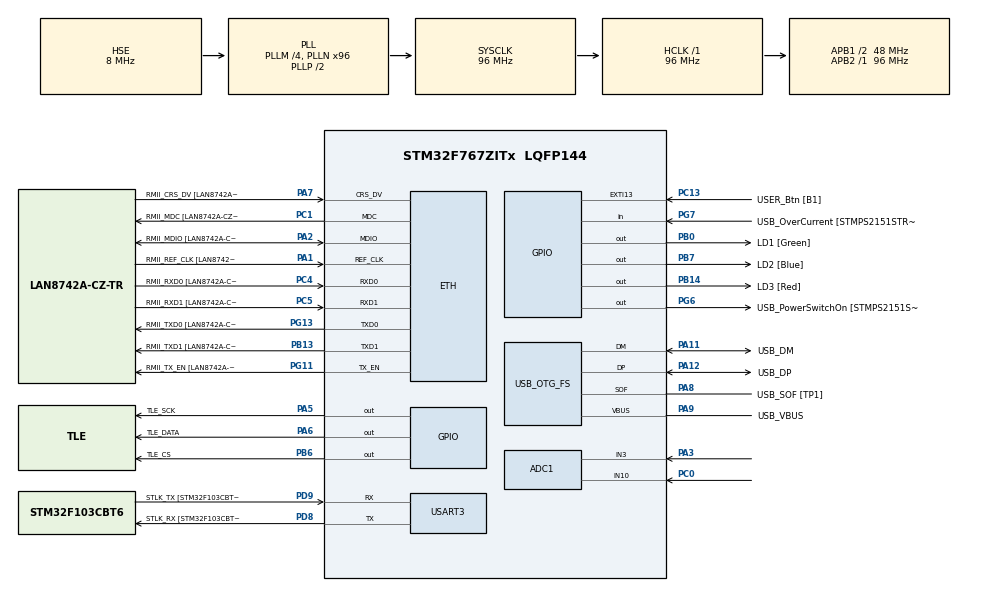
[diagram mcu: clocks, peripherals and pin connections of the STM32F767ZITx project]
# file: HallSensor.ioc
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ADC1.Channel-0\#ChannelRegularConversion=ADC_CHANNEL_3
ADC1.NbrOfConversionFlag=1
ADC1.Rank-0\#ChannelRegularConversion=1
ADC1.SamplingTime-0\#ChannelRegularConversion=ADC_SAMPLETIME_3CYCLES
ADC1.master=1
CORTEX_M7.default_mode_Activation=1
ETH.MediaInterface=HAL_ETH_RMII_MODE
ETH.PHY_Name=LAN8742A_PHY_ADDRESS
ETH.PHY_Value=0
ETH.PhyAddress=0
Mcu.Family=STM32F7
Mcu.Name=STM32F767ZITx
Mcu.Package=LQFP144
NVIC.PriorityGroup=NVIC_PRIORITYGROUP_4
NVIC.USART3_IRQn=true\:0\:0\:false\:false\:true\:true\:true\:true
PA1.GPIO_Label=RMII_REF_CLK [LAN8742A-CZ-TR_REFCLK0]
PA1.Mode=RMII
PA1.Signal=ETH_REF_CLK
PA10.GPIO_Label=USB_ID
PA10.Signal=USB_OTG_FS_ID
PA11.GPIO_Label=USB_DM
PA11.Mode=Device_Only
PA11.Signal=USB_OTG_FS_DM
PA12.GPIO_Label=USB_DP
PA12.Mode=Device_Only
PA12.Signal=USB_OTG_FS_DP
PA13.GPIO_Label=TMS
PA13.Mode=Serial_Wire
PA13.Signal=SYS_JTMS-SWDIO
PA14.GPIO_Label=TCK
PA14.Mode=Serial_Wire
PA14.Signal=SYS_JTCK-SWCLK
PA2.GPIO_Label=RMII_MDIO [LAN8742A-CZ-TR_MDIO]
PA2.Mode=RMII
PA2.Signal=ETH_MDIO
PA3.Signal=ADCx_IN3
PA5.GPIO_Label=TLE_SCK
PA5.Signal=GPIO_Output
PA6.GPIO_Label=TLE_DATA
PA6.Signal=GPIO_Output
PA7.GPIO_Label=RMII_CRS_DV [LAN8742A-CZ-TR_CRS_DV]
PA7.Mode=RMII
PA7.Signal=ETH_CRS_DV
PA8.GPIO_Label=USB_SOF [TP1]
PA8.Mode=Activate_SOF_FS
PA8.Signal=USB_OTG_FS_SOF
PA9.GPIO_Label=USB_VBUS
PA9.Mode=Activate_VBUS
PA9.Signal=USB_OTG_FS_VBUS
PB0.GPIO_Label=LD1 [Green]
PB0.Signal=GPIO_Output
PB13.GPIO_Label=RMII_TXD1 [LAN8742A-CZ-TR_TXD1]
PB13.Mode=RMII
PB13.Signal=ETH_TXD1
PB14.GPIO_Label=LD3 [Red]
PB14.Signal=GPIO_Output
PB3.GPIO_Label=SWO
PB3.Signal=SYS_JTDO-SWO
PB6.GPIO_Label=TLE_CS
PB6.Signal=GPIO_Output
PB7.GPIO_Label=LD2 [Blue]
PB7.Signal=GPIO_Output
PC0.Signal=ADCx_IN10
PC1.GPIO_Label=RMII_MDC [LAN8742A-CZ-TR_MDC]
PC1.Mode=RMII
PC1.Signal=ETH_MDC
PC13.GPIO_Label=USER_Btn [B1]
PC13.Signal=GPXTI13
PC14/OSC32_IN.Mode=LSE-External-Oscillator
PC14/OSC32_IN.Signal=RCC_OSC32_IN
PC15/OSC32_OUT.Mode=LSE-External-Oscillator
PC15/OSC32_OUT.Signal=RCC_OSC32_OUT
PC4.GPIO_Label=RMII_RXD0 [LAN8742A-CZ-TR_RXD0]
PC4.Mode=RMII
PC4.Signal=ETH_RXD0
PC5.GPIO_Label=RMII_RXD1 [LAN8742A-CZ-TR_RXD1]
PC5.Mode=RMII
PC5.Signal=ETH_RXD1
PD8.GPIO_Label=STLK_RX [STM32F103CBT6_PA3]
PD8.Mode=Asynchronous
PD8.Signal=USART3_TX
PD9.GPIO_Label=STLK_TX [STM32F103CBT6_PA2]
PD9.Mode=Asynchronous
PD9.Signal=USART3_RX
PG11.GPIO_Label=RMII_TX_EN [LAN8742A-CZ-TR_TXEN]
PG11.Mode=RMII
PG11.Signal=ETH_TX_EN
PG13.GPIO_Label=RMII_TXD0 [LAN8742A-CZ-TR_TXD0]
PG13.Mode=RMII
PG13.Signal=ETH_TXD0
PG6.GPIO_Label=USB_PowerSwitchOn [STMPS2151STR_EN]
PG6.Signal=GPIO_Output
PG7.GPIO_Label=USB_OverCurrent [STMPS2151STR_FAULT]
PG7.Signal=GPIO_Input
PH0/OSC_IN.GPIO_Label=MCO [STM32F103CBT6_PA8]
PH0/OSC_IN.Mode=HSE-External-Clock-Source
PH0/OSC_IN.Signal=RCC_OSC_IN
PH1/OSC_OUT.Mode=HSE-External-Clock-Source
PH1/OSC_OUT.Signal=RCC_OSC_OUT
ProjectManager.HeapSize=0x200
ProjectManager.StackSize=0x400
ProjectManager.TargetToolchain=STM32CubeIDE
RCC.48MHZClocksFreq_Value=24000000
RCC.AHBFreq_Value=96000000
RCC.APB1CLKDivider=RCC_HCLK_DIV2
RCC.APB1Freq_Value=48000000
RCC.APB1TimFreq_Value=96000000
RCC.APB2Freq_Value=96000000
RCC.APB2TimFreq_Value=96000000
RCC.CortexFreq_Value=96000000
RCC.HCLKFreq_Value=96000000
RCC.HSE_VALUE=8000000
RCC.HSI_VALUE=16000000
RCC.PLLM=4
RCC.PLLMUL=RCC_PLL_MUL9
RCC.PLLN=96
RCC.PLLQ=4
RCC.PRESCALERUSB=RCC_USBCLKSOURCE_PLL_DIV1_5
RCC.SYSCLKFreq_VALUE=96000000
RCC.SYSCLKSource=RCC_SYSCLKSOURCE_PLLCLK
RCC.SYSCLKSourceVirtual=RCC_SYSCLKSOURCE_PLLCLK
RCC.USBFreq_Value=48000000
RCC.VCOOutputFreq_Value=192000000
SH.ADCx_IN10.0=ADC1_IN10,IN10
SH.ADCx_IN3.0=ADC1_IN3,IN3
USART3.VirtualMode-Asynchronous=VM_ASYNC
USB_OTG_FS.VirtualMode=Device_Only
board=NUCLEO-F767ZI

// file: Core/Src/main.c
/* USER CODE BEGIN Header */
/**
  ******************************************************************************
  * @file           : main.c
  * @brief          : Main program body
  ******************************************************************************
  * @attention
  *
  * Copyright (c) 2026 STMicroelectronics.
  * All rights reserved.
  *
  * This software is licensed under terms that can be found in the LICENSE file
  * in the root directory of this software component.
  * If no LICENSE file comes with this software, it is provided AS-IS.
  *
  ******************************************************************************
  */
/* USER CODE END Header */
#include "main.h"
#include "string.h"

/* USER CODE BEGIN Includes */
#include <stdio.h>
#include <Tle5012b.h>
/* USER CODE END Includes */

/* USER CODE BEGIN PD */
#define Y_TOP_RAW      1970   // full front
#define Y_NEUTRAL_RAW  2145   // center
#define Y_BOTTOM_RAW   4080   // full back
#define X_LEFT_RAW     -63.5f
#define X_CENTER_RAW   -54.4f
#define X_RIGHT_RAW    -42.25f
#define Y_TOLERANCE    500
#define X_TOLERANCE    4.5f
/* USER CODE END PD */

#if defined ( __ICCARM__ ) /*!< IAR Compiler */
#pragma location=0x2007c000
ETH_DMADescTypeDef  DMARxDscrTab[ETH_RX_DESC_CNT]; /* Ethernet Rx DMA Descriptors */
#pragma location=0x2007c0a0
ETH_DMADescTypeDef  DMATxDscrTab[ETH_TX_DESC_CNT]; /* Ethernet Tx DMA Descriptors */

#elif defined ( __CC_ARM )  /* MDK ARM Compiler */

__attribute__((at(0x2007c000))) ETH_DMADescTypeDef  DMARxDscrTab[ETH_RX_DESC_CNT]; /* Ethernet Rx DMA Descriptors */
__attribute__((at(0x2007c0a0))) ETH_DMADescTypeDef  DMATxDscrTab[ETH_TX_DESC_CNT]; /* Ethernet Tx DMA Descriptors */

#elif defined ( __GNUC__ ) /* GNU Compiler */

ETH_DMADescTypeDef DMARxDscrTab[ETH_RX_DESC_CNT] __attribute__((section(".RxDecripSection"))); /* Ethernet Rx DMA Descriptors */
ETH_DMADescTypeDef DMATxDscrTab[ETH_TX_DESC_CNT] __attribute__((section(".TxDecripSection")));   /* Ethernet Tx DMA Descriptors */
#endif

ETH_TxPacketConfig TxConfig;

ADC_HandleTypeDef hadc1;

ETH_HandleTypeDef heth;

UART_HandleTypeDef huart3;

PCD_HandleTypeDef hpcd_USB_OTG_FS;

/* USER CODE BEGIN PV */
uint32_t H1_ADC = 0;
uint32_t H2_ADC = 0;

/* USER CODE END PV */

void SystemClock_Config(void);
static void MPU_Config(void);
static void MX_GPIO_Init(void);
static void MX_ETH_Init(void);
static void MX_USART3_UART_Init(void);
static void MX_USB_OTG_FS_PCD_Init(void);
static void MX_ADC1_Init(void);

/* USER CODE BEGIN 0 */

static uint32_t read_hall_channel(uint32_t channel)
{
    ADC_ChannelConfTypeDef sConfig = {0};
    sConfig.Channel = channel;
    sConfig.Rank = ADC_REGULAR_RANK_1;
    sConfig.SamplingTime = ADC_SAMPLETIME_56CYCLES;
    HAL_ADC_ConfigChannel(&hadc1, &sConfig);

    HAL_ADC_Start(&hadc1);
    HAL_ADC_PollForConversion(&hadc1, 10);
    uint32_t raw = HAL_ADC_GetValue(&hadc1);
    HAL_ADC_Stop(&hadc1);

    return raw;
}

static int classify_row(int32_t y)
{
    if (y < 2050) return -1;        /* below ~2050 = top (front) */
    else if (y < 3000) return 0;    /* 2050-3000 = neutral */
    else return 1;                   /* above 3000 = bottom (back) */
}

static int classify_col(float x)
{
    if (x < -58.0f) return -1;      /* left */
    else if (x < -48.0f) return 0;  /* center */
    else return 1;                   /* right */
}

static int32_t compute_gear(float x_raw, int32_t y_raw)
{
    int col = classify_col(x_raw);
    int row = classify_row(y_raw);

    if (row == 0) return 0;

    if (row == -1) {
        if (col == -1) return 3;
        if (col == 0)  return -1;
        if (col == 1)  return 4;
    }

    if (row == 1) {
        if (col == -1) return 2;
        if (col == 0)  return 1;
        if (col == 1)  return 5;
    }

    return 0;
}

/* USER CODE END 0 */

int main(void)
{

  /* USER CODE BEGIN 1 */
	char tx_buff[100];
	TLE5012_Frame_t frame;
	float angle_deg;
	char msg[80];

  /* USER CODE END 1 */

  /* MPU Configuration--------------------------------------------------------*/
  MPU_Config();

  /* MCU Configuration--------------------------------------------------------*/

  /* Reset of all peripherals, Initializes the Flash interface and the Systick. */
  HAL_Init();

  /* Configure the system clock */
  SystemClock_Config();

  /* Initialize all configured peripherals */
  MX_GPIO_Init();
  MX_ETH_Init();
  MX_USART3_UART_Init();
  MX_USB_OTG_FS_PCD_Init();
  MX_ADC1_Init();
  /* USER CODE BEGIN 2 */
  sprintf(tx_buff,"Testing\r\n");
  TLE5012_GPIO_Init();
  /* USER CODE END 2 */

  /* Infinite loop */
  while (1)
  {

    /* USER CODE BEGIN 3 */
	  HAL_Delay(1000);
	  HAL_GPIO_WritePin(LD2_GPIO_Port, LD2_Pin, GPIO_PIN_RESET);
	  HAL_Delay(500);
	  HAL_GPIO_WritePin(LD2_GPIO_Port, LD2_Pin, GPIO_PIN_SET);
	  int32_t current_gear = compute_gear(angle_deg, (int32_t)H1_ADC);

	  		  int len = sprintf(msg,"Trying\n");
	  		  HAL_UART_Transmit(&huart3, (uint8_t *)msg, len, 1000);
//	  printf("Testing some output \n");
//	  HAL_UART_Transmit(&huart3, (uint8_t *)tx_buff, strlen(tx_buff), 1000);
	  		  H1_ADC = read_hall_channel(ADC_CHANNEL_3);
	  		  H2_ADC = read_hall_channel(ADC_CHANNEL_10);

	  		  if (TLE5012_ReadAngleDeg(&angle_deg, &frame) == HAL_OK && frame.crc_ok) {
	  			int len = snprintf(msg, sizeof(msg),
	  			    "H1:%lu  H2:%lu  Angle:%.2f  Gear:%ld\r\n",
	  			    H1_ADC, H2_ADC, angle_deg, current_gear);
	  			HAL_UART_Transmit(&huart3, (uint8_t *)msg, len, 1000);
	  		  } else {
	  			  int len = snprintf(msg, sizeof(msg), "H1:%lu  H2:%lu  TLE Failed\r\n", H1_ADC, H2_ADC);
	  			  HAL_UART_Transmit(&huart3, (uint8_t *)msg, len, 1000);
	  		  }
  }
  /* USER CODE END 3 */
}

void SystemClock_Config(void)
{
  RCC_OscInitTypeDef RCC_OscInitStruct = {0};
  RCC_ClkInitTypeDef RCC_ClkInitStruct = {0};

  /** Configure LSE Drive Capability
  */
  HAL_PWR_EnableBkUpAccess();

  /** Configure the main internal regulator output voltage
  */
  __HAL_RCC_PWR_CLK_ENABLE();
  __HAL_PWR_VOLTAGESCALING_CONFIG(PWR_REGULATOR_VOLTAGE_SCALE3);

  /** Initializes the RCC Oscillators according to the specified parameters
  * in the RCC_OscInitTypeDef structure.
  */
  RCC_OscInitStruct.OscillatorType = RCC_OSCILLATORTYPE_HSE;
  RCC_OscInitStruct.HSEState = RCC_HSE_BYPASS;
  RCC_OscInitStruct.PLL.PLLState = RCC_PLL_ON;
  RCC_OscInitStruct.PLL.PLLSource = RCC_PLLSOURCE_HSE;
  RCC_OscInitStruct.PLL.PLLM = 4;
  RCC_OscInitStruct.PLL.PLLN = 96;
  RCC_OscInitStruct.PLL.PLLP = RCC_PLLP_DIV2;
  RCC_OscInitStruct.PLL.PLLQ = 4;
  RCC_OscInitStruct.PLL.PLLR = 2;
  if (HAL_RCC_OscConfig(&RCC_OscInitStruct) != HAL_OK)
  {
    Error_Handler();
  }

  /** Activate the Over-Drive mode
  */
  if (HAL_PWREx_EnableOverDrive() != HAL_OK)
  {
    Error_Handler();
  }

  /** Initializes the CPU, AHB and APB buses clocks
  */
  RCC_ClkInitStruct.ClockType = RCC_CLOCKTYPE_HCLK|RCC_CLOCKTYPE_SYSCLK
                              |RCC_CLOCKTYPE_PCLK1|RCC_CLOCKTYPE_PCLK2;
  RCC_ClkInitStruct.SYSCLKSource = RCC_SYSCLKSOURCE_PLLCLK;
  RCC_ClkInitStruct.AHBCLKDivider = RCC_SYSCLK_DIV1;
  RCC_ClkInitStruct.APB1CLKDivider = RCC_HCLK_DIV2;
  RCC_ClkInitStruct.APB2CLKDivider = RCC_HCLK_DIV1;

  if (HAL_RCC_ClockConfig(&RCC_ClkInitStruct, FLASH_LATENCY_3) != HAL_OK)
  {
    Error_Handler();
  }
}

static void MX_ADC1_Init(void)
{

  ADC_ChannelConfTypeDef sConfig = {0};

  /** Configure the global features of the ADC (Clock, Resolution, Data Alignment and number of conversion)
  */
  hadc1.Instance = ADC1;
  hadc1.Init.ClockPrescaler = ADC_CLOCK_SYNC_PCLK_DIV4;
  hadc1.Init.Resolution = ADC_RESOLUTION_12B;
  hadc1.Init.ScanConvMode = ADC_SCAN_DISABLE;
  hadc1.Init.ContinuousConvMode = DISABLE;
  hadc1.Init.DiscontinuousConvMode = DISABLE;
  hadc1.Init.ExternalTrigConvEdge = ADC_EXTERNALTRIGCONVEDGE_NONE;
  hadc1.Init.ExternalTrigConv = ADC_SOFTWARE_START;
  hadc1.Init.DataAlign = ADC_DATAALIGN_RIGHT;
  hadc1.Init.NbrOfConversion = 1;
  hadc1.Init.DMAContinuousRequests = DISABLE;
  hadc1.Init.EOCSelection = ADC_EOC_SINGLE_CONV;
  if (HAL_ADC_Init(&hadc1) != HAL_OK)
  {
    Error_Handler();
  }

  /** Configure for the selected ADC regular channel its corresponding rank in the sequencer and its sample time.
  */
  sConfig.Channel = ADC_CHANNEL_3;
  sConfig.Rank = ADC_REGULAR_RANK_1;
  sConfig.SamplingTime = ADC_SAMPLETIME_3CYCLES;
  if (HAL_ADC_ConfigChannel(&hadc1, &sConfig) != HAL_OK)
  {
    Error_Handler();
  }

}

static void MX_ETH_Init(void)
{

   static uint8_t MACAddr[6];

  heth.Instance = ETH;
  MACAddr[0] = 0x00;
  MACAddr[1] = 0x80;
  MACAddr[2] = 0xE1;
  MACAddr[3] = 0x00;
  MACAddr[4] = 0x00;
  MACAddr[5] = 0x00;
  heth.Init.MACAddr = &MACAddr[0];
  heth.Init.MediaInterface = HAL_ETH_RMII_MODE;
  heth.Init.TxDesc = DMATxDscrTab;
  heth.Init.RxDesc = DMARxDscrTab;
  heth.Init.RxBuffLen = 1524;

  if (HAL_ETH_Init(&heth) != HAL_OK)
  {
    Error_Handler();
  }

  memset(&TxConfig, 0 , sizeof(ETH_TxPacketConfig));
  TxConfig.Attributes = ETH_TX_PACKETS_FEATURES_CSUM | ETH_TX_PACKETS_FEATURES_CRCPAD;
  TxConfig.ChecksumCtrl = ETH_CHECKSUM_IPHDR_PAYLOAD_INSERT_PHDR_CALC;
  TxConfig.CRCPadCtrl = ETH_CRC_PAD_INSERT;

}

static void MX_USART3_UART_Init(void)
{

  huart3.Instance = USART3;
  huart3.Init.BaudRate = 115200;
  huart3.Init.WordLength = UART_WORDLENGTH_8B;
  huart3.Init.StopBits = UART_STOPBITS_1;
  huart3.Init.Parity = UART_PARITY_NONE;
  huart3.Init.Mode = UART_MODE_TX_RX;
  huart3.Init.HwFlowCtl = UART_HWCONTROL_NONE;
  huart3.Init.OverSampling = UART_OVERSAMPLING_16;
  huart3.Init.OneBitSampling = UART_ONE_BIT_SAMPLE_DISABLE;
  huart3.AdvancedInit.AdvFeatureInit = UART_ADVFEATURE_NO_INIT;
  if (HAL_UART_Init(&huart3) != HAL_OK)
  {
    Error_Handler();
  }

}

static void MX_USB_OTG_FS_PCD_Init(void)
{

  hpcd_USB_OTG_FS.Instance = USB_OTG_FS;
  hpcd_USB_OTG_FS.Init.dev_endpoints = 6;
  hpcd_USB_OTG_FS.Init.speed = PCD_SPEED_FULL;
  hpcd_USB_OTG_FS.Init.dma_enable = DISABLE;
  hpcd_USB_OTG_FS.Init.phy_itface = PCD_PHY_EMBEDDED;
  hpcd_USB_OTG_FS.Init.Sof_enable = ENABLE;
  hpcd_USB_OTG_FS.Init.low_power_enable = DISABLE;
  hpcd_USB_OTG_FS.Init.lpm_enable = DISABLE;
  hpcd_USB_OTG_FS.Init.vbus_sensing_enable = ENABLE;
  hpcd_USB_OTG_FS.Init.use_dedicated_ep1 = DISABLE;
  if (HAL_PCD_Init(&hpcd_USB_OTG_FS) != HAL_OK)
  {
    Error_Handler();
  }

}

static void MX_GPIO_Init(void)
{
  GPIO_InitTypeDef GPIO_InitStruct = {0};

  /* GPIO Ports Clock Enable */
  __HAL_RCC_GPIOC_CLK_ENABLE();
  __HAL_RCC_GPIOH_CLK_ENABLE();
  __HAL_RCC_GPIOA_CLK_ENABLE();
  __HAL_RCC_GPIOB_CLK_ENABLE();
  __HAL_RCC_GPIOD_CLK_ENABLE();
  __HAL_RCC_GPIOG_CLK_ENABLE();

  /*Configure GPIO pin Output Level */
  HAL_GPIO_WritePin(GPIOA, TLE_SCK_Pin|TLE_DATA_Pin, GPIO_PIN_RESET);

  /*Configure GPIO pin Output Level */
  HAL_GPIO_WritePin(GPIOB, LD1_Pin|LD3_Pin|TLE_CS_Pin|LD2_Pin, GPIO_PIN_RESET);

  /*Configure GPIO pin Output Level */
  HAL_GPIO_WritePin(USB_PowerSwitchOn_GPIO_Port, USB_PowerSwitchOn_Pin, GPIO_PIN_RESET);

  /*Configure GPIO pin : USER_Btn_Pin */
  GPIO_InitStruct.Pin = USER_Btn_Pin;
  GPIO_InitStruct.Mode = GPIO_MODE_IT_RISING;
  GPIO_InitStruct.Pull = GPIO_NOPULL;
  HAL_GPIO_Init(USER_Btn_GPIO_Port, &GPIO_InitStruct);

  /*Configure GPIO pins : TLE_SCK_Pin TLE_DATA_Pin */
  GPIO_InitStruct.Pin = TLE_SCK_Pin|TLE_DATA_Pin;
  GPIO_InitStruct.Mode = GPIO_MODE_OUTPUT_PP;
  GPIO_InitStruct.Pull = GPIO_NOPULL;
  GPIO_InitStruct.Speed = GPIO_SPEED_FREQ_LOW;
  HAL_GPIO_Init(GPIOA, &GPIO_InitStruct);

  /*Configure GPIO pins : LD1_Pin LD3_Pin TLE_CS_Pin LD2_Pin */
  GPIO_InitStruct.Pin = LD1_Pin|LD3_Pin|TLE_CS_Pin|LD2_Pin;
  GPIO_InitStruct.Mode = GPIO_MODE_OUTPUT_PP;
  GPIO_InitStruct.Pull = GPIO_NOPULL;
  GPIO_InitStruct.Speed = GPIO_SPEED_FREQ_LOW;
  HAL_GPIO_Init(GPIOB, &GPIO_InitStruct);

  /*Configure GPIO pin : USB_PowerSwitchOn_Pin */
  GPIO_InitStruct.Pin = USB_PowerSwitchOn_Pin;
  GPIO_InitStruct.Mode = GPIO_MODE_OUTPUT_PP;
  GPIO_InitStruct.Pull = GPIO_NOPULL;
  GPIO_InitStruct.Speed = GPIO_SPEED_FREQ_LOW;
  HAL_GPIO_Init(USB_PowerSwitchOn_GPIO_Port, &GPIO_InitStruct);

  /*Configure GPIO pin : USB_OverCurrent_Pin */
  GPIO_InitStruct.Pin = USB_OverCurrent_Pin;
  GPIO_InitStruct.Mode = GPIO_MODE_INPUT;
  GPIO_InitStruct.Pull = GPIO_NOPULL;
  HAL_GPIO_Init(USB_OverCurrent_GPIO_Port, &GPIO_InitStruct);

}

 /* MPU Configuration */

void MPU_Config(void)
{
  MPU_Region_InitTypeDef MPU_InitStruct = {0};

  /* Disables the MPU */
  HAL_MPU_Disable();

  /** Initializes and configures the Region and the memory to be protected
  */
  MPU_InitStruct.Enable = MPU_REGION_ENABLE;
  MPU_InitStruct.Number = MPU_REGION_NUMBER0;
  MPU_InitStruct.BaseAddress = 0x0;
  MPU_InitStruct.Size = MPU_REGION_SIZE_4GB;
  MPU_InitStruct.SubRegionDisable = 0x87;
  MPU_InitStruct.TypeExtField = MPU_TEX_LEVEL0;
  MPU_InitStruct.AccessPermission = MPU_REGION_NO_ACCESS;
  MPU_InitStruct.DisableExec = MPU_INSTRUCTION_ACCESS_DISABLE;
  MPU_InitStruct.IsShareable = MPU_ACCESS_SHAREABLE;
  MPU_InitStruct.IsCacheable = MPU_ACCESS_NOT_CACHEABLE;
  MPU_InitStruct.IsBufferable = MPU_ACCESS_NOT_BUFFERABLE;

  HAL_MPU_ConfigRegion(&MPU_InitStruct);
  /* Enables the MPU */
  HAL_MPU_Enable(MPU_PRIVILEGED_DEFAULT);

}

void Error_Handler(void)
{
  __disable_irq();
  while (1)
  {
  }
}
